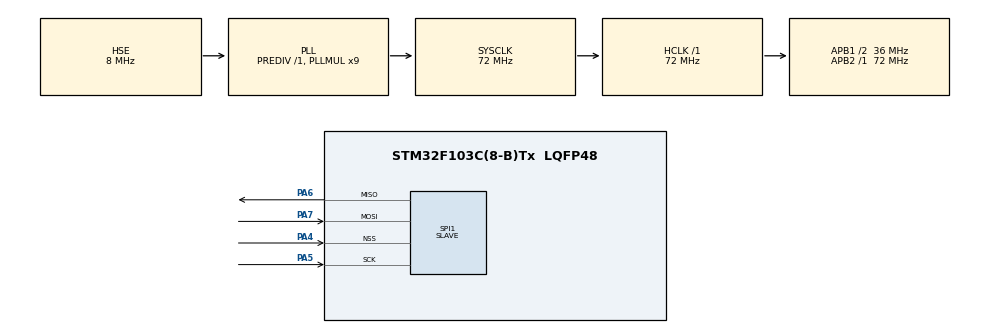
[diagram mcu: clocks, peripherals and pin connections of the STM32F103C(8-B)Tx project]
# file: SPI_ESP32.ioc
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Dma.Request0=SPI1_RX
Dma.Request1=SPI1_TX
Dma.SPI1_RX.0.Direction=DMA_PERIPH_TO_MEMORY
Dma.SPI1_RX.0.Instance=DMA1_Channel2
Dma.SPI1_RX.0.MemDataAlignment=DMA_MDATAALIGN_BYTE
Dma.SPI1_RX.0.MemInc=DMA_MINC_ENABLE
Dma.SPI1_RX.0.Mode=DMA_NORMAL
Dma.SPI1_RX.0.PeriphDataAlignment=DMA_PDATAALIGN_BYTE
Dma.SPI1_RX.0.PeriphInc=DMA_PINC_DISABLE
Dma.SPI1_RX.0.Priority=DMA_PRIORITY_LOW
Dma.SPI1_TX.1.Direction=DMA_MEMORY_TO_PERIPH
Dma.SPI1_TX.1.Instance=DMA1_Channel3
Dma.SPI1_TX.1.MemDataAlignment=DMA_MDATAALIGN_HALFWORD
Dma.SPI1_TX.1.MemInc=DMA_MINC_ENABLE
Dma.SPI1_TX.1.Mode=DMA_CIRCULAR
Dma.SPI1_TX.1.PeriphDataAlignment=DMA_PDATAALIGN_BYTE
Dma.SPI1_TX.1.PeriphInc=DMA_PINC_DISABLE
Dma.SPI1_TX.1.Priority=DMA_PRIORITY_LOW
Mcu.Family=STM32F1
Mcu.Name=STM32F103C(8-B)Tx
Mcu.Package=LQFP48
NVIC.DMA1_Channel2_IRQn=true\:0\:0\:false\:false\:true\:false\:true\:true
NVIC.DMA1_Channel3_IRQn=true\:0\:0\:false\:false\:true\:false\:true\:true
NVIC.PriorityGroup=NVIC_PRIORITYGROUP_4
NVIC.SPI1_IRQn=true\:0\:0\:false\:false\:true\:true\:true\:true
PA13.Mode=Serial_Wire
PA13.Signal=SYS_JTMS-SWDIO
PA14.Mode=Serial_Wire
PA14.Signal=SYS_JTCK-SWCLK
PA4.Mode=NSS_Signal_Hard_Input
PA4.Signal=SPI1_NSS
PA5.Mode=Full_Duplex_Slave
PA5.Signal=SPI1_SCK
PA6.Mode=Full_Duplex_Slave
PA6.Signal=SPI1_MISO
PA7.Mode=Full_Duplex_Slave
PA7.Signal=SPI1_MOSI
PD0-OSC_IN.Mode=HSE-External-Oscillator
PD0-OSC_IN.Signal=RCC_OSC_IN
PD1-OSC_OUT.Mode=HSE-External-Oscillator
PD1-OSC_OUT.Signal=RCC_OSC_OUT
ProjectManager.HeapSize=0x200
ProjectManager.StackSize=0x400
ProjectManager.TargetToolchain=MDK-ARM V5.32
RCC.AHBFreq_Value=72000000
RCC.APB1CLKDivider=RCC_HCLK_DIV2
RCC.APB1Freq_Value=36000000
RCC.APB1TimFreq_Value=72000000
RCC.APB2Freq_Value=72000000
RCC.APB2TimFreq_Value=72000000
RCC.HCLKFreq_Value=72000000
RCC.PLLMUL=RCC_PLL_MUL9
RCC.PLLSourceVirtual=RCC_PLLSOURCE_HSE
RCC.SYSCLKFreq_VALUE=72000000
RCC.SYSCLKSource=RCC_SYSCLKSOURCE_PLLCLK
RCC.USBFreq_Value=72000000
SPI1.Direction=SPI_DIRECTION_2LINES
SPI1.Mode=SPI_MODE_SLAVE
SPI1.VirtualNSS=VM_NSSHARD
SPI1.VirtualType=VM_SLAVE
board=custom

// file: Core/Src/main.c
/* USER CODE BEGIN Header */
/**
  ******************************************************************************
  * @file           : main.c
  * @brief          : Main program body
  ******************************************************************************
  * @attention
  *
  * Copyright (c) 2024 STMicroelectronics.
  * All rights reserved.
  *
  * This software is licensed under terms that can be found in the LICENSE file
  * in the root directory of this software component.
  * If no LICENSE file comes with this software, it is provided AS-IS.
  *
  ******************************************************************************
  */
/* USER CODE END Header */
#include "main.h"

SPI_HandleTypeDef hspi1;
DMA_HandleTypeDef hdma_spi1_rx;
DMA_HandleTypeDef hdma_spi1_tx;

void SystemClock_Config(void);
static void MX_GPIO_Init(void);
static void MX_DMA_Init(void);
static void MX_SPI1_Init(void);

/* USER CODE BEGIN 0 */
uint8_t rxBuffer[1]={0};
uint8_t rxBuffer_Slave[30];
uint8_t txBuffer_Slave[30]="from slave";
uint8_t txBuffer[1]={0};
uint8_t index=0;
void HAL_SPI_RxCpltCallback(SPI_HandleTypeDef *hspi){
	if(hspi->Instance==SPI1){
		txBuffer[0]=txBuffer_Slave[index];
		HAL_SPI_Transmit(&hspi1,txBuffer,1,100);
		HAL_SPI_Receive_IT(&hspi1,rxBuffer,1);

		if(rxBuffer[0]=='q'){
			index=0;
		}else{

			rxBuffer_Slave[index]=rxBuffer[0];
			if(index>30 || index==30 ){
				index=0;
			}else{
				index++;
			}
		}
	}
}
/* USER CODE END 0 */

int main(void)
{

  /* MCU Configuration--------------------------------------------------------*/

  /* Reset of all peripherals, Initializes the Flash interface and the Systick. */
  HAL_Init();

  /* Configure the system clock */
  SystemClock_Config();

  /* Initialize all configured peripherals */
  MX_GPIO_Init();
  MX_DMA_Init();
  MX_SPI1_Init();
  /* USER CODE BEGIN 2 */

	HAL_SPI_Receive_IT(&hspi1,rxBuffer,1);

  /* USER CODE END 2 */

  /* Infinite loop */
  while (1)
  {

  }
}

void SystemClock_Config(void)
{
  RCC_OscInitTypeDef RCC_OscInitStruct = {0};
  RCC_ClkInitTypeDef RCC_ClkInitStruct = {0};

  /** Initializes the RCC Oscillators according to the specified parameters
  * in the RCC_OscInitTypeDef structure.
  */
  RCC_OscInitStruct.OscillatorType = RCC_OSCILLATORTYPE_HSE;
  RCC_OscInitStruct.HSEState = RCC_HSE_ON;
  RCC_OscInitStruct.HSEPredivValue = RCC_HSE_PREDIV_DIV1;
  RCC_OscInitStruct.HSIState = RCC_HSI_ON;
  RCC_OscInitStruct.PLL.PLLState = RCC_PLL_ON;
  RCC_OscInitStruct.PLL.PLLSource = RCC_PLLSOURCE_HSE;
  RCC_OscInitStruct.PLL.PLLMUL = RCC_PLL_MUL9;
  if (HAL_RCC_OscConfig(&RCC_OscInitStruct) != HAL_OK)
  {
    Error_Handler();
  }

  /** Initializes the CPU, AHB and APB buses clocks
  */
  RCC_ClkInitStruct.ClockType = RCC_CLOCKTYPE_HCLK|RCC_CLOCKTYPE_SYSCLK
                              |RCC_CLOCKTYPE_PCLK1|RCC_CLOCKTYPE_PCLK2;
  RCC_ClkInitStruct.SYSCLKSource = RCC_SYSCLKSOURCE_PLLCLK;
  RCC_ClkInitStruct.AHBCLKDivider = RCC_SYSCLK_DIV1;
  RCC_ClkInitStruct.APB1CLKDivider = RCC_HCLK_DIV2;
  RCC_ClkInitStruct.APB2CLKDivider = RCC_HCLK_DIV1;

  if (HAL_RCC_ClockConfig(&RCC_ClkInitStruct, FLASH_LATENCY_2) != HAL_OK)
  {
    Error_Handler();
  }
}

static void MX_SPI1_Init(void)
{

  /* SPI1 parameter configuration*/
  hspi1.Instance = SPI1;
  hspi1.Init.Mode = SPI_MODE_SLAVE;
  hspi1.Init.Direction = SPI_DIRECTION_2LINES;
  hspi1.Init.DataSize = SPI_DATASIZE_8BIT;
  hspi1.Init.CLKPolarity = SPI_POLARITY_LOW;
  hspi1.Init.CLKPhase = SPI_PHASE_1EDGE;
  hspi1.Init.NSS = SPI_NSS_HARD_INPUT;
  hspi1.Init.FirstBit = SPI_FIRSTBIT_MSB;
  hspi1.Init.TIMode = SPI_TIMODE_DISABLE;
  hspi1.Init.CRCCalculation = SPI_CRCCALCULATION_DISABLE;
  hspi1.Init.CRCPolynomial = 10;
  if (HAL_SPI_Init(&hspi1) != HAL_OK)
  {
    Error_Handler();
  }

}

static void MX_DMA_Init(void)
{

  /* DMA controller clock enable */
  __HAL_RCC_DMA1_CLK_ENABLE();

  /* DMA interrupt init */
  /* DMA1_Channel2_IRQn interrupt configuration */
  HAL_NVIC_SetPriority(DMA1_Channel2_IRQn, 0, 0);
  HAL_NVIC_EnableIRQ(DMA1_Channel2_IRQn);
  /* DMA1_Channel3_IRQn interrupt configuration */
  HAL_NVIC_SetPriority(DMA1_Channel3_IRQn, 0, 0);
  HAL_NVIC_EnableIRQ(DMA1_Channel3_IRQn);

}

static void MX_GPIO_Init(void)
{

  /* GPIO Ports Clock Enable */
  __HAL_RCC_GPIOD_CLK_ENABLE();
  __HAL_RCC_GPIOA_CLK_ENABLE();

}

void Error_Handler(void)
{
  __disable_irq();
  while (1)
  {
  }
}
